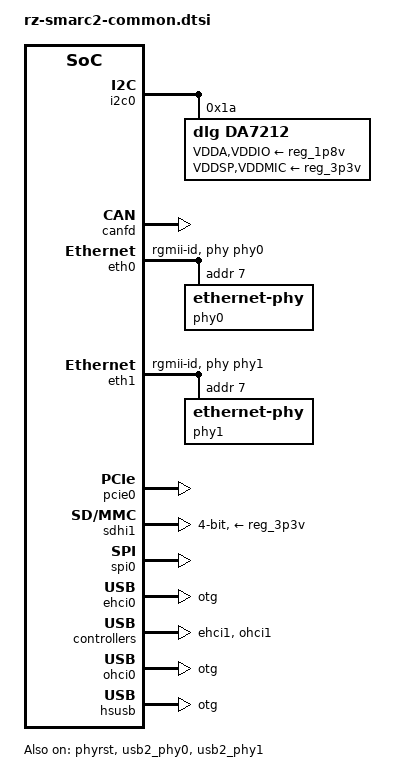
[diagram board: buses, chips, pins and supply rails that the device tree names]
// SPDX-License-Identifier: (GPL-2.0-only OR BSD-2-Clause)
/*
 * Device Tree Source for the RZ SMARC Carrier-II Board.
 *
 * Copyright (C) 2023 Renesas Electronics Corp.
 */

#include <dt-bindings/gpio/gpio.h>
#include <dt-bindings/pinctrl/rzg2l-pinctrl.h>


/ {
	aliases {
		ethernet0 = &eth0;
		ethernet1 = &eth1;
		serial0 = &scif0;
	};

	dummy_codec: codec_test {
		compatible = "linux,snd-soc-dummy";
		#sound-dai-cells = <0>;
	};

	snd_rzg2l: sound {
		compatible = "simple-audio-card";
		simple-audio-card,name = "snd_rzg3s";

		ssi_link: simple-audio-card,dai-link@0 {
			format = "i2s";
			bitclock-master = <&cpu_dai0>;
			frame-master = <&cpu_dai0>;
			mclk-fs = <256>;

			cpu_dai0: cpu {
			};

			codec_dai0: codec {
				sound-dai = <&da7212>;
			};
		};

#if SPDIF_SEL
		spdif_link: simple-audio-card,dai-link@1 {
			bitclock-master = <&cpu_dai1>;
			frame-master = <&cpu_dai1>;

			cpu_dai1: cpu {
			};

			codec_dai1: codec {
				sound-dai = <&dummy_codec>;
			};
		};
#endif
	};
};

&audio_clk1 {
	clock-frequency = <11289600>;
};

&audio_clk2 {
	clock-frequency = <12288000>;
};

&i2c0 {
	status = "okay";

	da7212: codec@1a {
		compatible = "dlg,da7212";

		#sound-dai-cells = <0>;
		#address-cells = <1>;
		#size-cells = <0>;

		reg = <0x1a>;

		clocks = <&versa3 4>;
		clock-names = "mclk";

		dlg,micbias1-lvl = <2500>;
		dlg,micbias2-lvl = <2500>;
		dlg,dmic-data-sel = "lrise_rfall";
		dlg,dmic-samplephase = "between_clkedge";
		dlg,dmic-clkrate = <3000000>;

		VDDA-supply = <&reg_1p8v>;
		VDDSP-supply = <&reg_3p3v>;
		VDDMIC-supply = <&reg_3p3v>;
		VDDIO-supply = <&reg_1p8v>;
	};
};

&canfd {
	pinctrl-0 = <&can0_pins &can1_pins>;
	pinctrl-names = "default";
	status = "okay";
	channel0 {
		status = "okay";
	};
	channel1 {
		status = "okay";
	};
};

&eth0 {
	pinctrl-0 = <&eth0_pins>;
	pinctrl-names = "default";
	phy-handle = <&phy0>;
	phy-mode = "rgmii-id";
	status = "okay";

	phy0: ethernet-phy@7 {
		reg = <7>;
		rxc-skew-psec = <2400>;
		txc-skew-psec = <2400>;
		rxdv-skew-psec = <0>;
		txdv-skew-psec = <0>;
		rxd0-skew-psec = <0>;
		rxd1-skew-psec = <0>;
		rxd2-skew-psec = <0>;
		rxd3-skew-psec = <0>;
		txd0-skew-psec = <0>;
		txd1-skew-psec = <0>;
		txd2-skew-psec = <0>;
		txd3-skew-psec = <0>;
	};
};

&eth1 {
	pinctrl-0 = <&eth1_pins>;
	pinctrl-names = "default";
	phy-handle = <&phy1>;
	phy-mode = "rgmii-id";
	status = "okay";

	phy1: ethernet-phy@7 {
		reg = <7>;
		rxc-skew-psec = <2400>;
		txc-skew-psec = <2400>;
		rxdv-skew-psec = <0>;
		txdv-skew-psec = <0>;
		rxd0-skew-psec = <0>;
		rxd1-skew-psec = <0>;
		rxd2-skew-psec = <0>;
		rxd3-skew-psec = <0>;
		txd0-skew-psec = <0>;
		txd1-skew-psec = <0>;
		txd2-skew-psec = <0>;
		txd3-skew-psec = <0>;
	};
};

&pcie0 {
	pinctrl-0 = <&pcie0_pins>;
	pinctrl-names = "default";
	status = "okay";
};

&sdhi1 {
	pinctrl-0 = <&sdhi1_pins>;
	pinctrl-1 = <&sdhi1_pins_uhs>;
	pinctrl-names = "default", "state_uhs";

	vmmc-supply = <&reg_3p3v>;
	vqmmc-supply = <&vccq_sdhi1>;
	bus-width = <4>;

	sd-uhs-sdr50;
	sd-uhs-sdr104;
	max-frequency = <125000000>;
	status = "okay";
};

&spi0 {
	pinctrl-0 = <&spi0_pins>;
	pinctrl-names = "default";

	dmas = <&dmac 0x2ed9>, <&dmac 0x2eda>;
	dma-names = "tx", "rx";

	status = "okay";
};

&ehci0 {
	dr_mode = "otg";
	status = "okay";
};

&ehci1 {
	status = "okay";
};

&ohci0 {
	dr_mode = "otg";
	status = "okay";
};

&ohci1 {
	status = "okay";
};

&hsusb {
	dr_mode = "otg";
	status = "okay";
};

&phyrst {
	status = "okay";
};

&usb2_phy0 {
	pinctrl-0 = <&usb0_pins>;
	pinctrl-names = "default";

	vbus-supply = <&vbus0_usb2>;
	status = "okay";
};

&usb2_phy1 {
	pinctrl-0 = <&usb1_pins>;
	pinctrl-names = "default";

	status = "okay";
};
